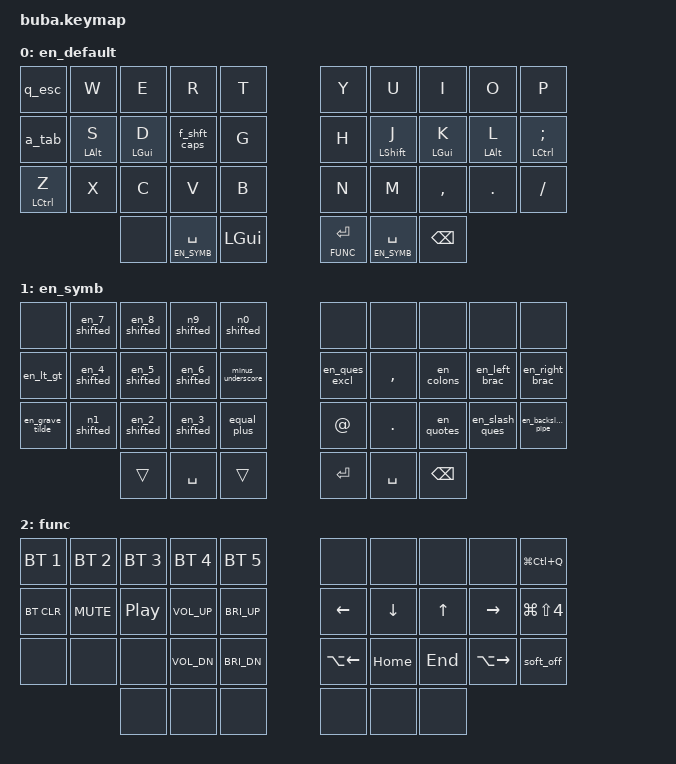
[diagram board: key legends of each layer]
#include <behaviors.dtsi>
#include <dt-bindings/zmk/keys.h>
#include <dt-bindings/zmk/bt.h>

#define EN_DEFAULT 0
#define RU_DEFAULT 1
#define EN_SYMB 2
#define FUNC 3

// TODO:
// - Wake from soft-off via kscan https://zmk.dev/docs/features/soft-off#kscan-sideband-behavior

/ {
    macros {
        double_f: double_f {
        compatible = "zmk,behavior-macro";
        #binding-cells = <0>;
        bindings
            = <&kp F>
            , <&kp F>
            ;
        };
    };

    
    behaviors {

        // ----- HOME ROW MODIFIERS -----
        hrm: home_row_modifier {
            compatible = "zmk,behavior-hold-tap";
            #binding-cells = <2>;
            flavor = "balanced";
            tapping-term-ms = <300>;
            quick-tap-ms = <0>;
            bindings = <&kp>, <&kp>;
        };
        
        hold_caps_word: hold_caps_word {
            compatible = "zmk,behavior-hold-tap";
            #binding-cells = <2>;
            flavor = "tap-preferred";
            tapping-term-ms = <200>;
            quick-tap-ms = <0>;
            bindings = <&caps_word>, <&double_f>;
        };

        f_shft_caps: F_hold_SHIFT_doubletap_CAPS_WORD {
            compatible = "zmk,behavior-tap-dance";
            #binding-cells = <0>;
            tapping-term-ms = <200>;
            bindings = <&hrm LSHFT F>, <&hold_caps_word 0 0>;
        };
        
        // ----- SPECIAL KEYS -----
        q_esc: q_esc {
            compatible = "zmk,behavior-tap-dance";
            #binding-cells = <0>;
            tapping-term-ms = <200>;
            bindings = <&kp Q>, <&kp ESC>;
        };
        a_tab: a_tab {
            compatible = "zmk,behavior-tap-dance";
            #binding-cells = <0>;
            tapping-term-ms = <200>;
            bindings = <&kp A>, <&kp TAB>;
        };

        // ----- SYMBOLS COMMON -----
        minus_underscore: minus_underscore {
            compatible = "zmk,behavior-tap-dance";
            #binding-cells = <0>;
            tapping-term-ms = <200>;
            bindings = <&kp MINUS>, <&kp UNDERSCORE>;
        };
        equal_plus: equal_plus {
            compatible = "zmk,behavior-tap-dance";
            #binding-cells = <0>;
            tapping-term-ms = <200>;
            bindings = <&kp EQUAL>, <&kp PLUS>;
        };
        n1_shifted: n1_shifted {
            compatible = "zmk,behavior-tap-dance";
            #binding-cells = <0>;
            tapping-term-ms = <200>;
            bindings = <&kp N1>, <&kp EXCLAMATION>;
        };
        n9_shifted: n9_shifted {
            compatible = "zmk,behavior-tap-dance";
            #binding-cells = <0>;
            tapping-term-ms = <200>;
            bindings = <&kp N9>, <&kp LEFT_PARENTHESIS>;
        };
        n0_shifted: n0_shifted {
            compatible = "zmk,behavior-tap-dance";
            #binding-cells = <0>;
            tapping-term-ms = <200>;
            bindings = <&kp N0>, <&kp RIGHT_PARENTHESIS>;
        };
        
        // ----- SYMBOLS ENGLISH -----
        en_ques_excl: en_question_exclamation {
            compatible = "zmk,behavior-tap-dance";
            #binding-cells = <0>;
            tapping-term-ms = <200>;
            bindings = <&kp QUESTION>, <&kp EXCL>;
        };
        en_quotes: en_quotes {
            compatible = "zmk,behavior-tap-dance";
            #binding-cells = <0>;
            tapping-term-ms = <200>;
            bindings = <&kp SINGLE_QUOTE>, <&kp DOUBLE_QUOTES>;
        };
        en_colons: en_colons {
            compatible = "zmk,behavior-tap-dance";
            #binding-cells = <0>;
            tapping-term-ms = <200>;
            bindings = <&kp COLON>, <&kp SEMICOLON>;
        };
        en_left_brac: en_left_bracet_left_brace {
            compatible = "zmk,behavior-tap-dance";
            #binding-cells = <0>;
            tapping-term-ms = <200>;
            bindings = <&kp LEFT_BRACKET>, <&kp LEFT_BRACE>;
        };
        en_right_brac: en_right_bracet_right_brace {
            compatible = "zmk,behavior-tap-dance";
            #binding-cells = <0>;
            tapping-term-ms = <200>;
            bindings = <&kp RIGHT_BRACKET>, <&kp RIGHT_BRACE>;
        };
        en_slash_ques: en_slash_ques {
            compatible = "zmk,behavior-tap-dance";
            #binding-cells = <0>;
            tapping-term-ms = <200>;
            bindings = <&kp SLASH>, <&kp QUESTION>;
        };
        en_backslash_pipe: en_backslash_pipe {
            compatible = "zmk,behavior-tap-dance";
            #binding-cells = <0>;
            tapping-term-ms = <200>;
            bindings = <&kp BACKSLASH>, <&kp PIPE>;
        };
        en_lt_gt: en_lt_gt {
            compatible = "zmk,behavior-tap-dance";
            #binding-cells = <0>;
            tapping-term-ms = <200>;
            bindings = <&kp LT>, <&kp GT>;
        };
        en_grave_tilde: en_grave_tilde {
            compatible = "zmk,behavior-tap-dance";
            #binding-cells = <0>;
            tapping-term-ms = <200>;
            bindings = <&kp GRAVE>, <&kp TILDE>;
        };
        en_2_shifted: en_2_shifted {
            compatible = "zmk,behavior-tap-dance";
            #binding-cells = <0>;
            tapping-term-ms = <200>;
            bindings = <&kp N2>, <&kp AT>;
        };
        en_3_shifted: en_3_shifted {
            compatible = "zmk,behavior-tap-dance";
            #binding-cells = <0>;
            tapping-term-ms = <200>;
            bindings = <&kp N3>, <&kp HASH>;
        };
        en_4_shifted: en_4_shifted {
            compatible = "zmk,behavior-tap-dance";
            #binding-cells = <0>;
            tapping-term-ms = <200>;
            bindings = <&kp N4>, <&kp DOLLAR>;
        };
        en_5_shifted: en_5_shifted {
            compatible = "zmk,behavior-tap-dance";
            #binding-cells = <0>;
            tapping-term-ms = <200>;
            bindings = <&kp N5>, <&kp PERCENT>;
        };
        en_6_shifted: en_6_shifted {
            compatible = "zmk,behavior-tap-dance";
            #binding-cells = <0>;
            tapping-term-ms = <200>;
            bindings = <&kp N6>, <&kp CARET>;
        };
        en_7_shifted: en_7_shifted {
            compatible = "zmk,behavior-tap-dance";
            #binding-cells = <0>;
            tapping-term-ms = <200>;
            bindings = <&kp N7>, <&kp AMPERSAND>;
        };
        en_8_shifted: en_8_shifted {
            compatible = "zmk,behavior-tap-dance";
            #binding-cells = <0>;
            tapping-term-ms = <200>;
            bindings = <&kp N8>, <&kp ASTERISK>;
        };

    };

    
    keymap {
        compatible = "zmk,keymap";
        
        en_default {
            // +------------------------------------------------------------------+
            // |Q→ESC|  W  |  E  |  R  |  T  |     |  Y  |  U  |  I  |  O  |  P  |
            // |A→TAB|  S  |  D  |  F  |  G  |     |  H  |  J  |  K  |  L  |  ;  |
            // |  Z  |  X  |  C  |  V  |  B  |     |  N  |  M  |  ,  |  .  |  /  |
            //
            //       | LANG | SPC→symb | CMD |     | ENT→func | SPC→symb | BSPC |
            // +------------------------------------------------------------------+
            bindings = <
                &q_esc        &kp W        &kp E        &kp R         &kp T               &kp Y  &kp U         &kp I        &kp O        &kp P   
                &a_tab        &hrm LALT S  &hrm LGUI D  &f_shft_caps  &kp G               &kp H  &hrm LSHFT J  &hrm LGUI K  &hrm LALT L  &hrm LCTRL SEMI
                &hrm LCTRL Z  &kp X        &kp C        &kp V         &kp B               &kp N  &kp M         &kp COMMA    &kp DOT      &kp FSLH
                
                &none   &lt EN_SYMB SPACE   &kp LGUI           &lt FUNC ENTER   &lt EN_SYMB SPACE   &kp BSPC
            >;
        };

        en_symb {
            // +-----------------------------------------------------------------+
            // |     | 7→& | 8→* | 9→( | 0→) |     |     |     |     |     |     |
            // | <→> | 4→$ | 5→% | 6→^ | -→_ |     | ?→! |  ,  | :→; | [→{ | ]→} |
            // | `→~ | 1→! | 2→@ | 3→# | =→+ |     |  @  |  .  | '→" | /→? | \→| |
            //
            //     | LANG | SPC | ↓↓↓ |     | ENT | SPC | BSPC |
            // +-----------------------------------------------------------------+
            bindings = <
                &none             &en_7_shifted   &en_8_shifted   &n9_shifted     &n0_shifted             &none           &none       &none        &none            &none   
                &en_lt_gt         &en_4_shifted   &en_5_shifted   &en_6_shifted   &minus_underscore       &en_ques_excl   &kp COMMA   &en_colons   &en_left_brac    &en_right_brac
                &en_grave_tilde   &n1_shifted     &en_2_shifted   &en_3_shifted   &equal_plus             &kp AT          &kp DOT     &en_quotes   &en_slash_ques   &en_backslash_pipe
                
                &trans   &kp SPACE   &trans       &kp ENTER   &kp SPACE   &kp BSPC
            >;
        };

        func {
            // +-----------------------------------------------------------------------+
            // |     |     |    | MUTE |     |       |     |     |     |     |   LOCK   |
            // |     |     | PP | VOL↑ | BR↑ |       |  ←  |  ↓  |  ↑  |  →  |SCREENSHOT|
            // |     |     |    | VOL↓ | BR↓ |       |  ⇇  |  ↵  |  ↳  |  ⇉  | SOFT OFF |
            //
            //            |     |     |   |       |     |     |     |
            // +-----------------------------------------------------------------------+
            bindings = <
                &bt BT_SEL 1 &bt BT_SEL 2  &bt BT_SEL 3 &bt BT_SEL 4 &bt BT_SEL 5         &none          &none      &none    &none           &kp LG(LC(Q))   
                &bt BT_CLR   &kp C_MUTE   &kp C_PLAY_PAUSE  &kp C_VOL_UP   &kp C_BRI_UP        &kp LEFT       &kp DOWN   &kp UP   &kp RIGHT       &kp LG(LS(N4))
                &none   &none   &none         &kp C_VOL_DN   &kp C_BRI_DN        &kp LA(LEFT)   &kp HOME   &kp END  &kp LA(RIGHT)   &soft_off
                
                                                   &none   &none   &none        &none   &none   &none
            >;
        };

    };
};
